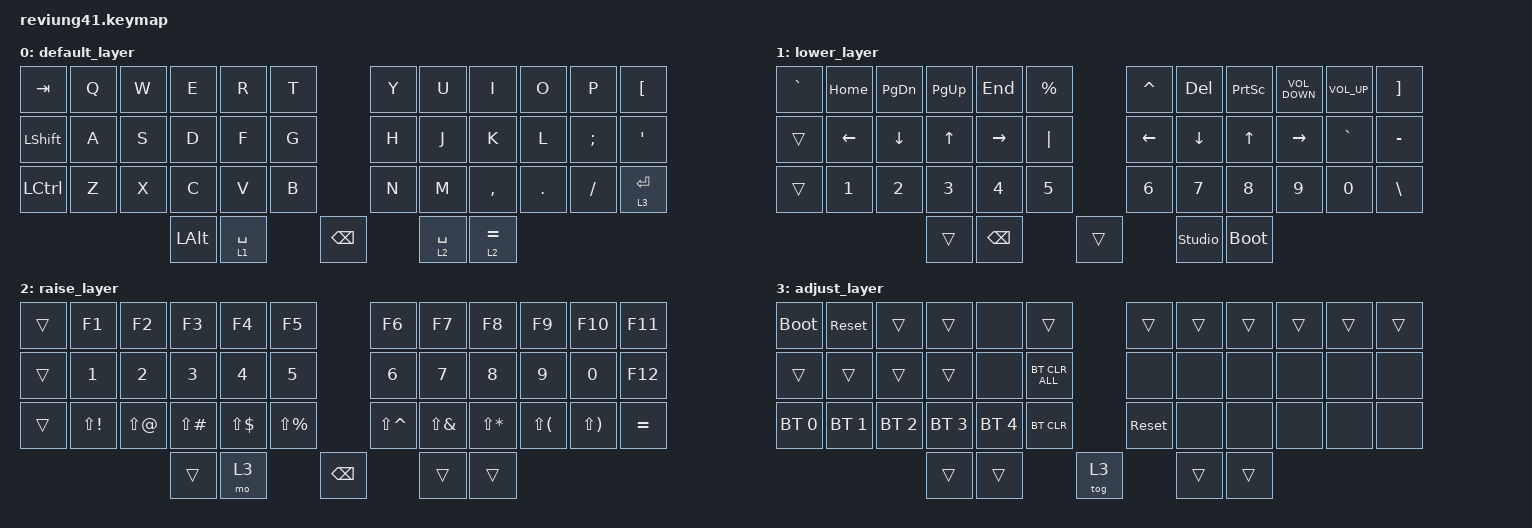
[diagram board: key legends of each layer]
/*
 * Copyright (c) 2020 The ZMK Contributors
 *
 * SPDX-License-Identifier: MIT
 */

#include <behaviors.dtsi>
#include <dt-bindings/zmk/bt.h>
#include <dt-bindings/zmk/keys.h>

/ {
    combos {
        compatible = "zmk,combos";

        esc {
            bindings = <&kp ESCAPE>;
            key-positions = <0 1>;
        };

        rightbrace {
            bindings = <&kp RIGHT_BRACKET>;
            key-positions = <34 33>;
        };

        leftbrace {
            bindings = <&kp LEFT_BRACKET>;
            key-positions = <32 33>;
        };

        minus {
            bindings = <&kp MINUS>;
            key-positions = <35 34>;
        };

        win {
            bindings = <&kp LEFT_GUI>;
            key-positions = <40 39>;
        };
    };

    keymap {
        compatible = "zmk,keymap";

        default_layer {
            // -------------------------------------------------------------------------------------
            // |  TAB |  Q  |  W  |  E  |  R  |  T  |   |  Y  |  U   |  I  |  O  |  P  |   BSPC    |
            // | CTRL |  A  |  S  |  D  |  F  |  G  |   |  H  |  J   |  K  |  L  |  ;  |    '      |
            // | SHFT |  Z  |  X  |  C  |  V  |  B  |   |  N  |  M   |  ,  |  .  |  /  | SHFT(RET) |
            //                         | ALT | LWR | SPC | RSE  | ALT |

            bindings = <
&kp TAB         &kp Q  &kp W  &kp E     &kp R        &kp T                 &kp Y  &kp U        &kp I        &kp O    &kp P     &kp LEFT_BRACKET
&kp LEFT_SHIFT  &kp A  &kp S  &kp D     &kp F        &kp G                 &kp H  &kp J        &kp K        &kp L    &kp SEMI  &kp SQT
&kp LCTRL       &kp Z  &kp X  &kp C     &kp V        &kp B                 &kp N  &kp M        &kp COMMA    &kp DOT  &kp FSLH  &lt 3 ENTER
                              &kp LALT  &lt 1 SPACE         &kp BACKSPACE         &lt 2 SPACE  &lt 2 EQUAL
            >;
        };

        lower_layer {
            // ------------------------------------------------------------------------------------
            // |    |  !  |  @  |  #  |  $  |  %  |   |  ^  |  &  |  *  |  (  |  )  |      DEL    |
            // |    |  _  |  +  |  {  |  }  | "|" |   | LFT | DWN |  UP | RGT |  `  |       ~     |
            // |    | ESC | GUI | ALT | CAPS|  "  |   | HOME| END | PGUP| PGDN| PRSC| SHFT(SPACE) |
            //                       |     |     | RET | ADJ |     |

            bindings = <
&kp GRAVE  &kp HOME  &kp PG_DN  &kp PG_UP     &kp END        &kp PRCNT          &kp CARET  &kp DEL         &kp PRINTSCREEN  &kp C_VOLUME_DOWN  &kp C_VOLUME_UP  &kp RIGHT_BRACKET
&trans     &kp LEFT  &kp DOWN   &kp UP_ARROW  &kp RIGHT      &kp PIPE           &kp LEFT   &kp DOWN        &kp UP           &kp RIGHT          &kp GRAVE        &kp MINUS
&trans     &kp N1    &kp N2     &kp N3        &kp N4         &kp N5             &kp N6     &kp N7          &kp N8           &kp N9             &kp N0           &kp BACKSLASH
                                &trans        &kp BACKSPACE             &trans             &studio_unlock  &bootloader
            >;
        };

        raise_layer {
            // ----------------------------------------------------------------------------
            // |    |  1  |  2  |  3  |  4  |  5  |   |  6  |  7  |  8  |  9  |  0  | DEL |
            // |    |  -  |  =  |  [  |  ]  |  \  |   | F1  | F2  | F3  | F4  | F5  | F6  |
            // |    | ESC | GUI | ALT | CAPS|  "  |   | F7  | F8  | F9  | F10 | F11 | F12 |
            //                       |     | ADJ | BSPC |    |     |

            bindings = <
&trans  &kp F1        &kp F2      &kp F3         &kp F4        &kp F5                   &kp F6         &kp F7        &kp F8        &kp F9        &kp F10       &kp F11
&trans  &kp N1        &kp N2      &kp N3         &kp N4        &kp N5                   &kp N6         &kp N7        &kp N8        &kp N9        &kp N0        &kp F12
&trans  &kp LS(EXCL)  &kp LS(AT)  &kp LS(POUND)  &kp LS(DLLR)  &kp LS(PRCNT)            &kp LS(CARET)  &kp LS(AMPS)  &kp LS(STAR)  &kp LS(LPAR)  &kp LS(RPAR)  &kp EQUAL
                                  &trans         &mo 3                        &kp BSPC                 &trans        &trans
            >;
        };

        adjust_layer {
            // -----------------------------------------------------------------------------------------
            // | RGB BRI+ | RGB SAT+ | RGB HUE+ | RGB ANI+ |    | RGB TOG |   |  BT1  | BT2 | BT3 | BT4 | BT5 | BT CLR |
            // | RGB BRI- | RGB SAT- | RGB HUE- | RGB ANI- |    |         |   |       |     |     |     |     |        |
            // |          |          |          |          |    |         |   | RESET |     |     |     |     |        |
            //                                              |     |     |     |     |     |

            bindings = <
&bootloader   &sys_reset    &trans        &trans        &none         &trans                  &trans      &trans  &trans  &trans  &trans  &trans
&trans        &trans        &trans        &trans        &none         &bt BT_CLR_ALL          &none       &none   &none   &none   &none   &none
&bt BT_SEL 0  &bt BT_SEL 1  &bt BT_SEL 2  &bt BT_SEL 3  &bt BT_SEL 4  &bt BT_CLR              &sys_reset  &none   &none   &none   &none   &none
                                          &trans        &trans                        &tog 3              &trans  &trans
            >;
        };
    };
};
